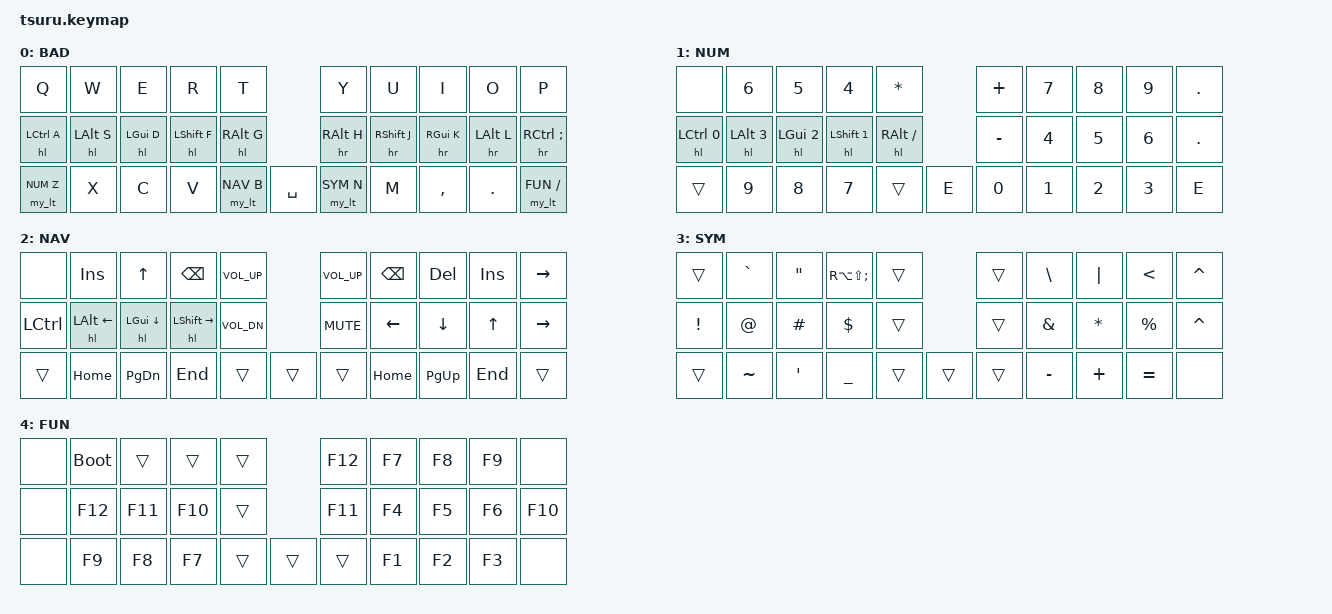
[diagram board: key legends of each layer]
#include "base_tsuru.h"


//   00  01  02  03  04  05  06  07  08  09
//  10  11  12  13  14    15  16  17  18  19
// 20  21  22  23  24  25  26  27  28  29  30

/ {

    keymap {
        compatible = "zmk,keymap";

        qwerty {
            label = "BAD";

            bindings = <
                &kp Q          &kp W          &kp E          &kp R          &kp T                         &kp Y          &kp U          &kp I          &kp O          &kp P
                &hl LCTRL A    &hl LALT S     &hl LGUI D     &hl LSHFT F    &hl RALT G                    &hr RALT H     &hr RSHFT J    &hr RGUI K     &hr LALT L     &hr RCTL SEMICOLON
                &my_lt NUM Z   &kp X          &kp C          &kp V          &my_lt NAV B   &kp SPC        &my_lt SYM N   &kp M          &kp COMMA      &kp DOT        &my_lt FUN SLASH
            >;
        };
        numbers {
            label = "NUM";

            bindings = <
                &none          &kp N6         &kp N5         &kp N4         &kp ASTERISK                  &kp PLUS       &kp N7         &kp N8         &kp N9         &kp DOT
                &hl LCTRL N0   &hl LALT N3    &hl LGUI N2    &hl LSHFT N1   &hl RALT SLASH                &kp MINUS      &kp N4         &kp N5         &kp N6         &kp DOT
                &trans         &kp N9         &kp N8         &kp N7         &trans         &kp E          &kp N0         &kp N1         &kp N2         &kp N3         &kp E
            >;
        };
        navigation {
            label = "NAV";

            bindings = <
                &none          &kp INSERT     &kp UP         &kp BSPC        &kp C_VOL_UP                 &kp C_VOL_UP   &kp BSPC       &kp DEL        &kp INSERT     &kp RIGHT
                &kp LCTRL      &hl LALT LEFT  &hl LGUI DOWN  &hl LSHFT RIGHT &kp C_VOL_DN                 &kp C_MUTE     &kp LEFT       &kp DOWN       &kp UP         &kp RIGHT
                &trans         &kp HOME       &kp PG_DN      &kp END         &trans       &trans          &trans         &kp HOME       &kp PG_UP      &kp END        &trans
            >;
        };
        symbols {
            label = "SYM";

            bindings = <
                &trans         &kp GRAVE      &kp DQT        &kp RA(LS(SEMI)) &trans                      &trans         &kp BACKSLASH  &kp PIPE       &kp LT         &kp CARET
                &kp EXCL       &kp AT         &kp HASH       &kp DOLLAR      &trans                       &trans         &kp AMPERSAND  &kp ASTERISK   &kp PERCENT    &kp CARET
                &trans         &kp TILDE      &kp SQT        &kp UNDERSCORE  &trans       &trans          &trans         &kp MINUS      &kp PLUS       &kp EQUAL      &none
            >;
        };
        function {
            label = "FUN";

            bindings = <
                &none          &bootloader    &trans         &trans          &trans                       &kp F12        &kp F7         &kp F8         &kp F9         &none
                &none          &kp F12        &kp F11        &kp F10         &trans                       &kp F11        &kp F4         &kp F5         &kp F6         &kp F10
                &none          &kp F9         &kp F8         &kp F7          &trans        &trans         &trans         &kp F1         &kp F2         &kp F3         &none
            >;
        };

    };
};
